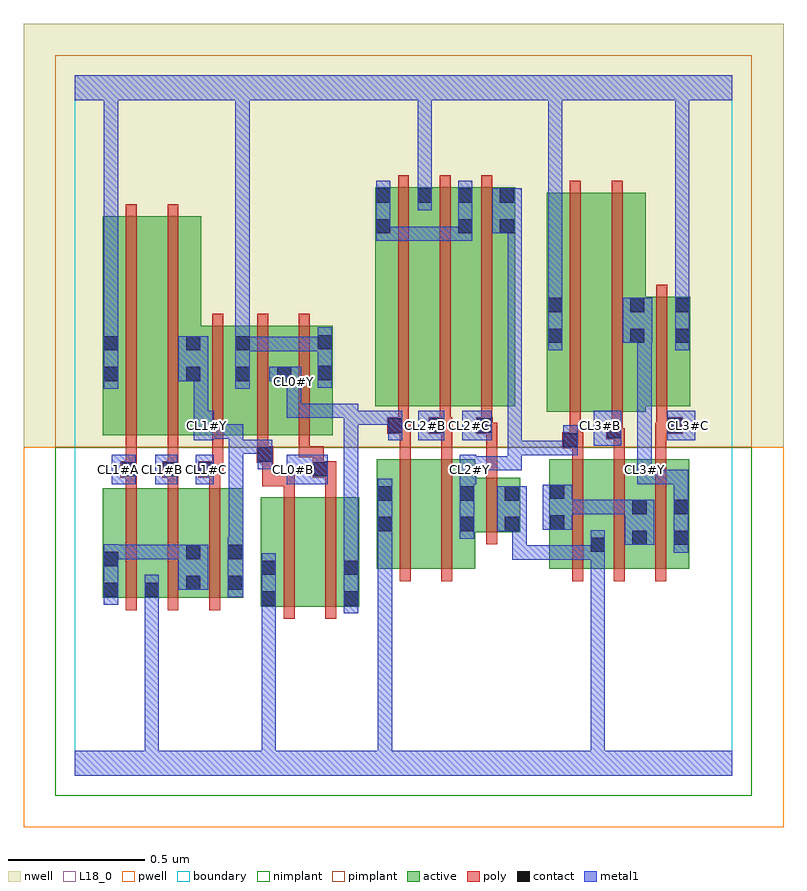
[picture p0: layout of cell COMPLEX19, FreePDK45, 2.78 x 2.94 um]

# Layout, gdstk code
import gdstk
lib = gdstk.Library(unit=1e-6, precision=1e-09)
def R(c, l, rs):  # rectangles x0, y0, x1, y1
    for r in rs: c.add(gdstk.rectangle(r[:2], r[2:], *l))
def A(c, l, x, y, w, h, nx, ny, dx, dy):  # array of equal rectangles
    R(c, l, [(x+i*dx, y+j*dy, x+i*dx+w, y+j*dy+h) for i in range(nx) for j in range(ny)])
active = (1, 0)
pwell = (2, 0)
nwell = (3, 0)
nimplant = (4, 0)
pimplant = (5, 0)
poly = (9, 0)
contact = (10, 0)
metal1 = (11, 0)
L18_0 = (18, 0)
boundary = (235, 0)

complex19 = lib.new_cell('COMPLEX19')
A(complex19, active, 1.88, 0.756, 0.06, 0.4, 3, 1, 0.152, 0)
R(complex19, active, [(0.678,0.618,0.738,1.018), (0.678,0.618,0.858,1.018), (0.858,0.618,1.038,1.018), (0.978,0.618,1.038,1.018), (0.102,0.65,0.162,1.05), (0.102,0.65,0.31,1.05), (0.25,0.65,0.462,1.05), (0.25,0.65,0.31,0.874), (0.402,0.65,0.614,1.05), (0.402,0.65,0.462,1.014), (0.554,0.65,0.614,1.05), (1.102,0.756,1.162,1.156), (1.102,0.756,1.282,1.156), (1.282,0.756,1.462,1.156), (1.402,0.756,1.462,1.09), (1.732,0.756,1.792,1.156), (1.732,0.756,1.94,1.156), (1.88,0.756,2.092,1.156), (2.032,0.756,2.244,1.156), (1.402,0.89,1.626,1.09), (1.566,0.89,1.626,1.09), (0.102,1.244,0.282,2.044), (0.102,1.244,0.162,2.044), (0.282,1.244,0.462,2.044), (0.402,1.244,0.462,2.044), (0.402,1.244,0.642,1.644), (0.582,1.244,0.642,1.644), (0.582,1.244,0.794,1.644), (0.734,1.244,0.942,1.644), (0.882,1.244,0.942,1.644), (1.724,1.33,1.904,2.13), (1.724,1.33,1.784,2.044), (1.904,1.33,2.084,2.13), (1.096,1.35,1.156,2.15), (1.096,1.35,1.308,2.15), (1.248,1.35,1.456,2.15), (1.396,1.35,1.608,2.15), (1.548,1.35,1.608,2.15), (2.024,1.35,2.084,1.75), (2.024,1.35,2.248,1.75), (2.188,1.35,2.248,1.75), (0.734,1.438,0.794,1.644), (1.248,1.686,1.308,2.15), (1.396,1.686,1.456,2.15)])
R(complex19, pwell, [(-0.188,-0.188,2.588,1.2)])
R(complex19, nwell, [(-0.188,1.2,2.588,2.748)])
R(complex19, nimplant, [(-0.072,-0.072,2.472,1.2)])
R(complex19, pimplant, [(-0.072,1.2,2.472,2.632)])
A(complex19, poly, 0.186, 0.606, 0.04, 0.488, 3, 1, 0.152, 0)
A(complex19, poly, 1.816, 0.712, 0.04, 0.488, 3, 1, 0.152, 0)
A(complex19, poly, 0.186, 1.054, 0.04, 0.076, 3, 1, 0.152, 0)
A(complex19, poly, 1.18, 1.27, 0.04, 0.076, 3, 1, 0.152, 0)
A(complex19, poly, 1.18, 1.306, 0.04, 0.888, 3, 1, 0.152, 0)
R(complex19, poly, [(0.762,0.574,0.802,1.062), (0.914,0.574,0.954,1.062), (1.186,0.712,1.226,1.2), (1.338,0.712,1.378,1.2), (1.502,0.846,1.542,1.134), (0.762,1.022,0.802,1.098), (0.914,1.022,0.954,1.13), (0.684,1.058,0.724,1.184), (0.684,1.058,0.802,1.098), (0.166,1.09,0.226,1.15), (0.186,1.09,0.226,1.13), (0.186,1.09,0.226,1.13), (0.318,1.09,0.378,1.15), (0.338,1.09,0.378,1.13), (0.338,1.09,0.378,1.13), (0.45,1.09,0.53,1.15), (0.868,1.09,0.954,1.15), (1.502,1.094,1.542,1.29), (0.186,1.11,0.226,1.24), (0.338,1.11,0.378,1.24), (0.49,1.11,0.53,1.15), (0.49,1.11,0.542,1.15), (0.502,1.11,0.542,1.24), (0.868,1.11,0.908,1.204), (0.664,1.144,0.724,1.204), (1.186,1.16,1.226,1.29), (1.338,1.16,1.378,1.29), (1.816,1.16,1.856,1.236), (1.968,1.16,2.008,1.27), (2.12,1.16,2.16,1.29), (0.666,1.164,0.706,1.24), (0.818,1.164,0.858,1.24), (0.818,1.164,0.908,1.204), (1.78,1.196,1.856,1.256), (0.186,1.2,0.226,2.088), (0.338,1.2,0.378,2.088), (0.502,1.2,0.542,1.688), (0.666,1.2,0.706,1.688), (0.818,1.2,0.858,1.688), (1.808,1.216,1.848,1.256), (1.808,1.216,1.848,1.256), (1.808,1.216,1.848,1.326), (1.94,1.23,2,1.29), (1.96,1.23,2,1.27), (1.96,1.23,2.008,1.27), (1.14,1.25,1.22,1.31), (1.18,1.25,1.22,1.29), (1.18,1.25,1.226,1.29), (1.292,1.25,1.378,1.31), (1.466,1.25,1.526,1.31), (1.486,1.25,1.526,1.29), (1.486,1.25,1.542,1.29), (1.96,1.25,2,1.326), (2.12,1.25,2.164,1.29), (2.124,1.25,2.164,1.29), (2.124,1.25,2.22,1.31), (1.332,1.27,1.372,1.31), (1.332,1.27,1.372,1.31), (2.124,1.27,2.164,1.346), (1.808,1.286,1.848,2.174), (1.96,1.286,2,2.174), (2.124,1.306,2.164,1.794)])
R(complex19, contact, [(0.682,0.622,0.734,0.674), (0.982,0.622,1.034,0.674), (0.106,0.654,0.158,0.706), (0.254,0.654,0.306,0.706), (0.406,0.68,0.458,0.732), (0.558,0.68,0.61,0.732), (0.682,0.734,0.734,0.786), (0.982,0.734,1.034,0.786), (0.106,0.766,0.158,0.818), (0.406,0.792,0.458,0.844), (0.558,0.792,0.61,0.844), (1.884,0.818,1.936,0.87), (2.036,0.844,2.088,0.896), (2.188,0.844,2.24,0.896), (1.106,0.894,1.158,0.946), (1.406,0.894,1.458,0.946), (1.57,0.894,1.622,0.946), (1.736,0.9,1.788,0.952), (2.036,0.956,2.088,1.008), (2.188,0.956,2.24,1.008), (1.106,1.006,1.158,1.058), (1.406,1.006,1.458,1.058), (1.57,1.006,1.622,1.058), (1.736,1.012,1.788,1.064), (0.17,1.094,0.222,1.146), (0.322,1.094,0.374,1.146), (0.454,1.094,0.506,1.146), (0.872,1.094,0.924,1.146), (0.668,1.148,0.72,1.2), (1.784,1.2,1.836,1.252), (1.944,1.234,1.996,1.286), (1.144,1.254,1.196,1.306), (1.296,1.254,1.348,1.306), (1.47,1.254,1.522,1.306), (2.164,1.254,2.216,1.306), (0.106,1.442,0.158,1.494), (0.406,1.442,0.458,1.494), (0.586,1.442,0.638,1.494), (0.738,1.442,0.79,1.494), (0.886,1.446,0.938,1.498), (0.106,1.554,0.158,1.606), (0.406,1.554,0.458,1.606), (0.586,1.554,0.638,1.606), (0.886,1.558,0.938,1.61), (1.728,1.582,1.78,1.634), (2.028,1.582,2.08,1.634), (2.192,1.582,2.244,1.634), (1.728,1.694,1.78,1.746), (2.028,1.694,2.08,1.746), (2.192,1.694,2.244,1.746), (1.1,1.982,1.152,2.034), (1.4,1.982,1.452,2.034), (1.552,1.982,1.604,2.034), (1.1,2.094,1.152,2.146), (1.252,2.094,1.304,2.146), (1.4,2.094,1.452,2.146), (1.552,2.094,1.604,2.146)])
R(complex19, metal1, [(0,0,2.4,0.092), (0.254,0.04,0.306,0.092), (0.254,0.04,0.306,0.092), (0.254,0.04,0.306,0.092), (0.254,0.04,0.306,0.092), (0.254,0.04,0.306,0.092), (0.254,0.04,0.306,0.092), (0.254,0.04,0.306,0.092), (0.254,0.04,0.306,0.092), (0.254,0.04,0.306,0.092), (0.254,0.04,0.306,0.092), (0.254,0.04,0.306,0.678), (0.682,0.04,0.734,0.092), (0.682,0.04,0.734,0.092), (0.682,0.04,0.734,0.092), (0.682,0.04,0.734,0.092), (0.682,0.04,0.734,0.092), (0.682,0.04,0.734,0.092), (0.682,0.04,0.734,0.646), (1.106,0.04,1.158,0.092), (1.106,0.04,1.158,0.092), (1.106,0.04,1.158,0.092), (1.106,0.04,1.158,0.092), (1.106,0.04,1.158,0.092), (1.106,0.04,1.158,0.092), (1.106,0.04,1.158,0.092), (1.106,0.04,1.158,0.092), (1.106,0.04,1.158,0.092), (1.106,0.04,1.158,0.092), (1.106,0.04,1.158,0.092), (1.106,0.04,1.158,0.092), (1.106,0.04,1.158,0.918), (1.884,0.04,1.936,0.092), (1.884,0.04,1.936,0.092), (1.884,0.04,1.936,0.092), (1.884,0.04,1.936,0.092), (1.884,0.04,1.936,0.092), (1.884,0.04,1.936,0.092), (1.884,0.04,1.936,0.842), (0.682,0.594,0.734,0.646), (0.682,0.594,0.734,0.646), (0.682,0.594,0.734,0.646), (0.682,0.594,0.734,0.646), (0.682,0.594,0.734,0.646), (0.682,0.594,0.734,0.646), (0.682,0.594,0.734,0.814), (0.982,0.594,1.034,0.814), (0.106,0.626,0.158,0.846), (0.254,0.626,0.306,0.678), (0.254,0.626,0.306,0.678), (0.254,0.626,0.306,0.734), (0.558,0.652,0.614,0.872), (0.378,0.68,0.486,0.844), (0.982,0.762,1.034,1.334), (1.598,0.79,1.65,0.842), (1.598,0.79,1.65,0.842), (1.598,0.79,1.65,0.842), (1.598,0.79,1.76,0.842), (1.598,0.79,1.65,0.946), (1.708,0.79,1.76,0.842), (1.708,0.79,1.76,0.842), (1.708,0.79,1.76,0.842), (1.708,0.79,1.936,0.842), (1.884,0.79,1.936,0.842), (1.884,0.79,1.936,0.842), (1.884,0.79,1.936,0.842), (1.884,0.79,1.936,0.842), (1.884,0.79,1.936,0.842), (1.884,0.79,1.936,0.842), (1.884,0.79,1.936,0.898), (0.106,0.792,0.158,0.844), (0.106,0.792,0.158,0.844), (0.106,0.792,0.32,0.844), (0.268,0.792,0.32,0.844), (0.268,0.792,0.32,0.844), (0.268,0.792,0.32,0.844), (0.268,0.792,0.43,0.844), (2.188,0.816,2.24,1.036), (0.562,0.82,0.614,0.872), (0.562,0.82,0.614,0.872), (0.562,0.82,0.614,1.228), (2.008,0.844,2.116,1.008), (1.106,0.866,1.158,1.086), (1.406,0.866,1.458,1.086), (1.542,0.894,1.65,1.058), (1.708,0.9,1.816,1.064), (1.764,0.956,1.816,1.008), (1.764,0.956,1.816,1.008), (1.764,0.956,1.926,1.008), (1.874,0.956,1.926,1.008), (1.874,0.956,2.06,1.008), (2.008,0.956,2.06,1.008), (2.008,0.956,2.06,1.008), (2.188,0.984,2.24,1.118), (1.406,1.034,1.458,1.118), (0.134,1.066,0.222,1.174), (0.294,1.066,0.374,1.174), (0.442,1.066,0.506,1.174), (0.774,1.066,0.924,1.174), (1.406,1.066,1.466,1.174), (2.054,1.066,2.24,1.118), (2.054,1.066,2.106,1.174), (2.188,1.066,2.24,1.118), (2.188,1.066,2.24,1.118), (2.188,1.066,2.24,1.118), (1.414,1.116,1.466,1.168), (1.414,1.116,1.466,1.168), (1.414,1.116,1.632,1.168), (1.58,1.116,1.632,1.224), (0.668,1.12,0.72,1.228), (2.054,1.122,2.106,1.174), (2.054,1.122,2.106,1.174), (2.054,1.122,2.106,1.634), (1.58,1.172,1.632,1.224), (1.58,1.172,1.632,1.224), (1.58,1.172,1.632,1.224), (1.58,1.172,1.632,1.224), (1.58,1.172,1.836,1.224), (1.58,1.172,1.632,2.034), (1.784,1.172,1.836,1.28), (0.562,1.176,0.614,1.284), (0.562,1.176,0.616,1.228), (0.564,1.176,0.616,1.228), (0.564,1.176,0.72,1.228), (1.894,1.206,1.996,1.334), (0.434,1.226,0.506,1.334), (1.144,1.226,1.196,1.334), (1.254,1.226,1.348,1.334), (1.414,1.226,1.522,1.334), (2.164,1.226,2.266,1.334), (0.454,1.232,0.506,1.284), (0.454,1.232,0.506,1.284), (0.454,1.232,0.614,1.284), (0.434,1.282,0.486,1.494), (0.982,1.282,1.034,1.334), (0.982,1.282,1.034,1.334), (0.982,1.282,1.034,1.334), (0.982,1.282,1.034,1.334), (0.982,1.282,1.144,1.334), (0.982,1.282,1.034,1.36), (1.092,1.282,1.144,1.334), (1.092,1.282,1.196,1.334), (0.774,1.308,1.034,1.36), (0.774,1.308,0.826,1.494), (0.106,1.414,0.158,1.634), (0.586,1.414,0.638,1.634), (0.886,1.418,0.938,1.638), (0.378,1.442,0.486,1.606), (0.71,1.442,0.826,1.494), (0.774,1.442,0.826,1.494), (0.586,1.552,0.72,1.604), (0.668,1.552,0.72,1.604), (0.668,1.552,0.828,1.604), (0.776,1.552,0.828,1.604), (0.776,1.552,0.938,1.604), (0.886,1.552,0.938,1.604), (0.886,1.552,0.938,1.604), (1.728,1.554,1.78,1.774), (2.192,1.554,2.244,1.774), (0.106,1.582,0.158,1.634), (0.106,1.582,0.158,1.634), (0.106,1.582,0.158,2.52), (0.586,1.582,0.638,2.52), (2,1.582,2.108,1.746), (1.728,1.722,1.78,2.52), (2.192,1.722,2.244,1.774), (2.192,1.722,2.244,1.774), (2.192,1.722,2.244,1.774), (2.192,1.722,2.244,1.774), (2.192,1.722,2.244,1.774), (2.192,1.722,2.244,1.774), (2.192,1.722,2.244,2.52), (1.1,1.954,1.152,2.006), (1.1,1.954,1.152,2.006), (1.1,1.954,1.152,2.174), (1.1,1.954,1.342,2.006), (1.29,1.954,1.342,2.006), (1.29,1.954,1.342,2.006), (1.29,1.954,1.342,2.006), (1.29,1.954,1.452,2.006), (1.4,1.954,1.452,2.174), (1.524,1.982,1.632,2.146), (1.252,2.066,1.304,2.174), (1.252,2.122,1.304,2.174), (1.252,2.122,1.304,2.174), (1.252,2.122,1.304,2.52), (0,2.468,2.4,2.56), (0.106,2.468,0.158,2.52), (0.106,2.468,0.158,2.52), (0.106,2.468,0.158,2.52), (0.106,2.468,0.158,2.52), (0.106,2.468,0.158,2.52), (0.106,2.468,0.158,2.52), (0.586,2.468,0.638,2.52), (0.586,2.468,0.638,2.52), (0.586,2.468,0.638,2.52), (0.586,2.468,0.638,2.52), (0.586,2.468,0.638,2.52), (0.586,2.468,0.638,2.52), (0.586,2.468,0.638,2.52), (0.586,2.468,0.638,2.52), (0.586,2.468,0.638,2.52), (0.586,2.468,0.638,2.52), (0.586,2.468,0.638,2.52), (0.586,2.468,0.638,2.52), (0.586,2.468,0.638,2.52), (0.586,2.468,0.638,2.52), (0.586,2.468,0.638,2.52), (0.586,2.468,0.638,2.52), (1.252,2.468,1.304,2.52), (1.252,2.468,1.304,2.52), (1.252,2.468,1.304,2.52), (1.252,2.468,1.304,2.52), (1.252,2.468,1.304,2.52), (1.252,2.468,1.304,2.52), (1.728,2.468,1.78,2.52), (1.728,2.468,1.78,2.52), (1.728,2.468,1.78,2.52), (1.728,2.468,1.78,2.52), (1.728,2.468,1.78,2.52), (1.728,2.468,1.78,2.52), (1.728,2.468,1.78,2.52), (1.728,2.468,1.78,2.52), (2.192,2.468,2.244,2.52), (2.192,2.468,2.244,2.52), (2.192,2.468,2.244,2.52), (2.192,2.468,2.244,2.52), (2.192,2.468,2.244,2.52), (2.192,2.468,2.244,2.52), (2.192,2.468,2.244,2.52), (2.192,2.468,2.244,2.52), (2.192,2.468,2.244,2.52), (2.192,2.468,2.244,2.52)])
A(complex19, L18_0, 0.134, 1.094, 0.052, 0.052, 3, 1, 0.16, 0)
A(complex19, L18_0, 0.774, 1.094, 0.052, 0.052, 3, 1, 0.64, 0)
R(complex19, L18_0, [(0,0,2.4,0.092), (0.254,0.04,0.306,0.092), (0.254,0.04,0.306,0.092), (0.254,0.04,0.306,0.092), (0.254,0.04,0.306,0.092), (0.254,0.04,0.306,0.092), (0.254,0.04,0.306,0.092), (0.254,0.04,0.306,0.092), (0.254,0.04,0.306,0.092), (0.254,0.04,0.306,0.092), (0.254,0.04,0.306,0.092), (0.254,0.04,0.306,0.678), (0.682,0.04,0.734,0.092), (0.682,0.04,0.734,0.092), (0.682,0.04,0.734,0.092), (0.682,0.04,0.734,0.092), (0.682,0.04,0.734,0.092), (0.682,0.04,0.734,0.092), (0.682,0.04,0.734,0.646), (1.106,0.04,1.158,0.092), (1.106,0.04,1.158,0.092), (1.106,0.04,1.158,0.092), (1.106,0.04,1.158,0.092), (1.106,0.04,1.158,0.092), (1.106,0.04,1.158,0.092), (1.106,0.04,1.158,0.092), (1.106,0.04,1.158,0.092), (1.106,0.04,1.158,0.092), (1.106,0.04,1.158,0.092), (1.106,0.04,1.158,0.092), (1.106,0.04,1.158,0.092), (1.106,0.04,1.158,0.918), (1.884,0.04,1.936,0.092), (1.884,0.04,1.936,0.092), (1.884,0.04,1.936,0.092), (1.884,0.04,1.936,0.092), (1.884,0.04,1.936,0.092), (1.884,0.04,1.936,0.092), (1.884,0.04,1.936,0.842), (0.682,0.594,0.734,0.814), (0.682,0.594,0.734,0.646), (0.682,0.594,0.734,0.646), (0.682,0.594,0.734,0.646), (0.682,0.594,0.734,0.646), (0.682,0.594,0.734,0.646), (0.682,0.594,0.734,0.646), (0.982,0.594,1.034,0.814), (0.254,0.626,0.306,0.678), (0.254,0.626,0.306,0.678), (0.254,0.626,0.306,0.734), (0.558,0.652,0.614,0.872), (0.982,0.762,1.034,1.334), (1.598,0.79,1.65,0.842), (1.598,0.79,1.65,0.842), (1.598,0.79,1.65,0.842), (1.598,0.79,1.76,0.842), (1.598,0.79,1.65,0.946), (1.708,0.79,1.76,0.842), (1.708,0.79,1.76,0.842), (1.708,0.79,1.76,0.842), (1.708,0.79,1.936,0.842), (1.884,0.79,1.936,0.842), (1.884,0.79,1.936,0.842), (1.884,0.79,1.936,0.842), (1.884,0.79,1.936,0.842), (1.884,0.79,1.936,0.842), (1.884,0.79,1.936,0.842), (1.884,0.79,1.936,0.898), (2.188,0.816,2.24,1.036), (0.562,0.82,0.614,0.872), (0.562,0.82,0.614,0.872), (0.562,0.82,0.614,1.228), (1.106,0.866,1.158,1.086), (1.406,0.866,1.458,1.086), (1.542,0.894,1.65,1.058), (2.188,0.984,2.24,1.118), (1.406,1.034,1.458,1.118), (0.134,1.066,0.222,1.174), (0.294,1.066,0.374,1.174), (0.442,1.066,0.506,1.174), (0.774,1.066,0.924,1.174), (1.406,1.066,1.466,1.174), (2.054,1.066,2.106,1.174), (2.054,1.066,2.24,1.118), (2.188,1.066,2.24,1.118), (2.188,1.066,2.24,1.118), (2.188,1.066,2.24,1.118), (1.414,1.116,1.466,1.168), (1.414,1.116,1.466,1.168), (1.414,1.116,1.632,1.168), (1.58,1.116,1.632,1.224), (0.668,1.12,0.72,1.228), (2.054,1.122,2.106,1.174), (2.054,1.122,2.106,1.174), (2.054,1.122,2.106,1.634), (1.58,1.172,1.632,1.224), (1.58,1.172,1.632,1.224), (1.58,1.172,1.632,1.224), (1.58,1.172,1.632,1.224), (1.58,1.172,1.632,2.034), (1.58,1.172,1.836,1.224), (1.784,1.172,1.836,1.28), (0.562,1.176,0.614,1.284), (0.562,1.176,0.616,1.228), (0.564,1.176,0.616,1.228), (0.564,1.176,0.72,1.228), (1.894,1.206,1.996,1.334), (0.434,1.226,0.506,1.334), (1.144,1.226,1.196,1.334), (1.254,1.226,1.348,1.334), (1.414,1.226,1.522,1.334), (2.164,1.226,2.266,1.334), (0.454,1.232,0.506,1.284), (0.454,1.232,0.506,1.284), (0.454,1.232,0.614,1.284), (0.454,1.254,0.506,1.306), (1.254,1.254,1.306,1.306), (1.414,1.254,1.466,1.306), (1.894,1.254,1.946,1.306), (2.214,1.254,2.266,1.306), (0.434,1.282,0.486,1.494), (0.982,1.282,1.034,1.334), (0.982,1.282,1.034,1.334), (0.982,1.282,1.034,1.334), (0.982,1.282,1.034,1.334), (0.982,1.282,1.034,1.36), (0.982,1.282,1.144,1.334), (1.092,1.282,1.144,1.334), (1.092,1.282,1.196,1.334), (0.774,1.308,0.826,1.494), (0.774,1.308,1.034,1.36), (0.106,1.414,0.158,1.634), (0.586,1.414,0.638,1.634), (0.774,1.414,0.826,1.466), (0.886,1.418,0.938,1.638), (0.378,1.442,0.486,1.606), (0.71,1.442,0.826,1.494), (0.774,1.442,0.826,1.494), (0.586,1.552,0.72,1.604), (0.668,1.552,0.72,1.604), (0.668,1.552,0.828,1.604), (0.776,1.552,0.828,1.604), (0.776,1.552,0.938,1.604), (0.886,1.552,0.938,1.604), (0.886,1.552,0.938,1.604), (1.728,1.554,1.78,1.774), (2.192,1.554,2.244,1.774), (0.106,1.582,0.158,1.634), (0.106,1.582,0.158,1.634), (0.106,1.582,0.158,2.52), (0.586,1.582,0.638,2.52), (2,1.582,2.108,1.746), (1.728,1.722,1.78,2.52), (2.192,1.722,2.244,1.774), (2.192,1.722,2.244,1.774), (2.192,1.722,2.244,1.774), (2.192,1.722,2.244,1.774), (2.192,1.722,2.244,1.774), (2.192,1.722,2.244,1.774), (2.192,1.722,2.244,2.52), (1.524,1.982,1.632,2.146), (1.252,2.066,1.304,2.174), (1.252,2.122,1.304,2.174), (1.252,2.122,1.304,2.174), (1.252,2.122,1.304,2.52), (0,2.468,2.4,2.56), (0.106,2.468,0.158,2.52), (0.106,2.468,0.158,2.52), (0.106,2.468,0.158,2.52), (0.106,2.468,0.158,2.52), (0.106,2.468,0.158,2.52), (0.106,2.468,0.158,2.52), (0.586,2.468,0.638,2.52), (0.586,2.468,0.638,2.52), (0.586,2.468,0.638,2.52), (0.586,2.468,0.638,2.52), (0.586,2.468,0.638,2.52), (0.586,2.468,0.638,2.52), (0.586,2.468,0.638,2.52), (0.586,2.468,0.638,2.52), (0.586,2.468,0.638,2.52), (0.586,2.468,0.638,2.52), (0.586,2.468,0.638,2.52), (0.586,2.468,0.638,2.52), (0.586,2.468,0.638,2.52), (0.586,2.468,0.638,2.52), (0.586,2.468,0.638,2.52), (0.586,2.468,0.638,2.52), (1.252,2.468,1.304,2.52), (1.252,2.468,1.304,2.52), (1.252,2.468,1.304,2.52), (1.252,2.468,1.304,2.52), (1.252,2.468,1.304,2.52), (1.252,2.468,1.304,2.52), (1.728,2.468,1.78,2.52), (1.728,2.468,1.78,2.52), (1.728,2.468,1.78,2.52), (1.728,2.468,1.78,2.52), (1.728,2.468,1.78,2.52), (1.728,2.468,1.78,2.52), (1.728,2.468,1.78,2.52), (1.728,2.468,1.78,2.52), (2.192,2.468,2.244,2.52), (2.192,2.468,2.244,2.52), (2.192,2.468,2.244,2.52), (2.192,2.468,2.244,2.52), (2.192,2.468,2.244,2.52), (2.192,2.468,2.244,2.52), (2.192,2.468,2.244,2.52), (2.192,2.468,2.244,2.52), (2.192,2.468,2.244,2.52), (2.192,2.468,2.244,2.52)])
R(complex19, boundary, [(0,0,2.4,2.56)])
complex19.add(gdstk.Label('CL0#B', (0.8,1.12), layer=11, texttype=0))
complex19.add(gdstk.Label('CL0#Y', (0.8,1.44), layer=11, texttype=0))
complex19.add(gdstk.Label('CL1#A', (0.16,1.12), layer=11, texttype=0))
complex19.add(gdstk.Label('CL1#B', (0.32,1.12), layer=11, texttype=0))
complex19.add(gdstk.Label('CL1#C', (0.48,1.12), layer=11, texttype=0))
complex19.add(gdstk.Label('CL1#Y', (0.48,1.28), layer=11, texttype=0))
complex19.add(gdstk.Label('CL2#B', (1.28,1.28), layer=11, texttype=0))
complex19.add(gdstk.Label('CL2#C', (1.44,1.28), layer=11, texttype=0))
complex19.add(gdstk.Label('CL2#Y', (1.44,1.12), layer=11, texttype=0))
complex19.add(gdstk.Label('CL3#B', (1.92,1.28), layer=11, texttype=0))
complex19.add(gdstk.Label('CL3#C', (2.24,1.28), layer=11, texttype=0))
complex19.add(gdstk.Label('CL3#Y', (2.08,1.12), layer=11, texttype=0))

lib.write_gds('COMPLEX19.gds')
